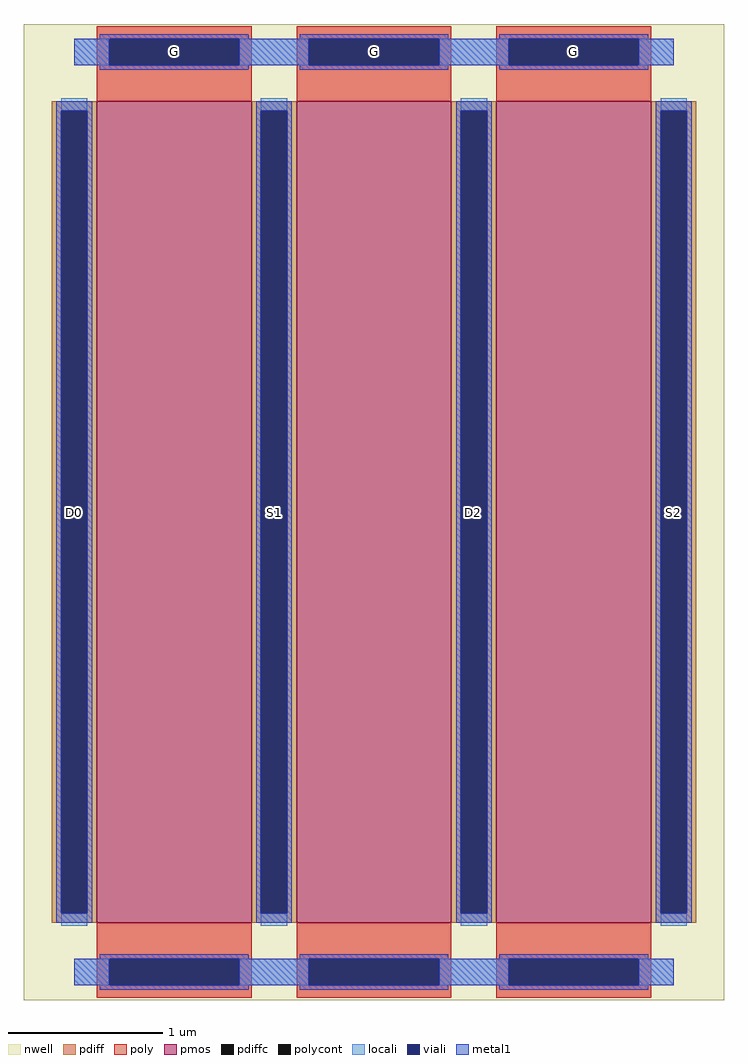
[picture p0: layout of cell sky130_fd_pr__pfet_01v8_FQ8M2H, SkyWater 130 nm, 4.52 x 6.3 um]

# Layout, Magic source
magic
tech sky130A
magscale 1 2
<< nwell >>
rect -452 -630 452 630
<< pmos >>
rect -358 -530 -158 530
rect -100 -530 100 530
rect 158 -530 358 530
<< pdiff >>
rect -416 518 -358 530
rect -416 -518 -404 518
rect -370 -518 -358 518
rect -416 -530 -358 -518
rect -158 518 -100 530
rect -158 -518 -146 518
rect -112 -518 -100 518
rect -158 -530 -100 -518
rect 100 518 158 530
rect 100 -518 112 518
rect 146 -518 158 518
rect 100 -530 158 -518
rect 358 518 416 530
rect 358 -518 370 518
rect 404 -518 416 518
rect 358 -530 416 -518
<< pdiffc >>
rect -404 -518 -370 518
rect -146 -518 -112 518
rect 112 -518 146 518
rect 370 -518 404 518
<< poly >>
rect -358 611 -158 627
rect -358 577 -342 611
rect -174 577 -158 611
rect -358 530 -158 577
rect -100 611 100 627
rect -100 577 -84 611
rect 84 577 100 611
rect -100 530 100 577
rect 158 611 358 627
rect 158 577 174 611
rect 342 577 358 611
rect 158 530 358 577
rect -358 -577 -158 -530
rect -358 -611 -342 -577
rect -174 -611 -158 -577
rect -358 -627 -158 -611
rect -100 -577 100 -530
rect -100 -611 -84 -577
rect 84 -611 100 -577
rect -100 -627 100 -611
rect 158 -577 358 -530
rect 158 -611 174 -577
rect 342 -611 358 -577
rect 158 -627 358 -611
<< polycont >>
rect -342 577 -174 611
rect -84 577 84 611
rect 174 577 342 611
rect -342 -611 -174 -577
rect -84 -611 84 -577
rect 174 -611 342 -577
<< locali >>
rect -387 577 -342 611
rect -174 577 -84 611
rect 84 577 174 611
rect 342 577 387 611
rect -404 518 -370 534
rect -404 -534 -370 -518
rect -146 518 -112 534
rect -146 -534 -112 -518
rect 112 518 146 534
rect 112 -534 146 -518
rect 370 518 404 534
rect 370 -534 404 -518
rect -387 -611 -342 -577
rect -174 -611 -84 -577
rect 84 -611 174 -577
rect 342 -611 387 -577
<< viali >>
rect -342 577 -174 611
rect -84 577 84 611
rect 174 577 342 611
rect -404 -518 -370 518
rect -146 -518 -112 518
rect 112 -518 146 518
rect 370 -518 404 518
rect -342 -611 -174 -577
rect -84 -611 84 -577
rect 174 -611 342 -577
<< metal1 >>
rect -354 611 -162 617
rect -96 611 96 617
rect 162 611 354 617
rect -387 577 -342 611
rect -174 577 -84 611
rect 84 577 174 611
rect 342 577 387 611
rect -354 571 -162 577
rect -96 571 96 577
rect 162 571 354 577
rect -410 518 -364 530
rect -410 -518 -404 518
rect -370 -518 -364 518
rect -410 -530 -364 -518
rect -152 518 -106 530
rect -152 -518 -146 518
rect -112 -518 -106 518
rect -152 -530 -106 -518
rect 106 518 152 530
rect 106 -518 112 518
rect 146 -518 152 518
rect 106 -530 152 -518
rect 364 518 410 530
rect 364 -518 370 518
rect 404 -518 410 518
rect 364 -530 410 -518
rect -354 -577 -162 -571
rect -96 -577 96 -571
rect 162 -577 354 -571
rect -387 -611 -342 -577
rect -174 -611 -84 -577
rect 84 -611 174 -577
rect 342 -611 387 -577
rect -354 -617 -162 -611
rect -96 -617 96 -611
rect 162 -617 354 -611
<< labels >>
rlabel pdiffc -387 0 -387 0 0 D0
port 1 nsew
rlabel polycont -258 594 -258 594 0 G
port 2 nsew
rlabel pdiffc -129 0 -129 0 0 S1
port 3 nsew
rlabel polycont 0 594 0 594 0 G
port 2 nsew
rlabel pdiffc 129 0 129 0 0 D2
port 4 nsew
rlabel pdiffc 387 0 387 0 0 S2
port 5 nsew
rlabel polycont 258 594 258 594 0 G
port 2 nsew
<< properties >>
string gencell sky130_fd_pr__pfet_01v8
string library sky130
string parameters w 5.3 l 1 m 1 nf 3 diffcov 100 polycov 100 guard 0 glc 0 grc 0 gtc 0 gbc 0 tbcov 100 rlcov 100 topc 1 botc 1 poverlap 0 doverlap 1 lmin 0.15 wmin 0.42 class mosfet compatible {sky130_fd_pr__pfet_01v8  sky130_fd_pr__pfet_01v8_lvt sky130_fd_pr__pfet_01v8_hvt  sky130_fd_pr__pfet_g5v0d10v5} full_metal 0 conn_gates 1 viasrc 100 viadrn 100 viagate 100 viagb 0 viagr 0 viagl 0 viagt 0 doports 1
<< end >>
